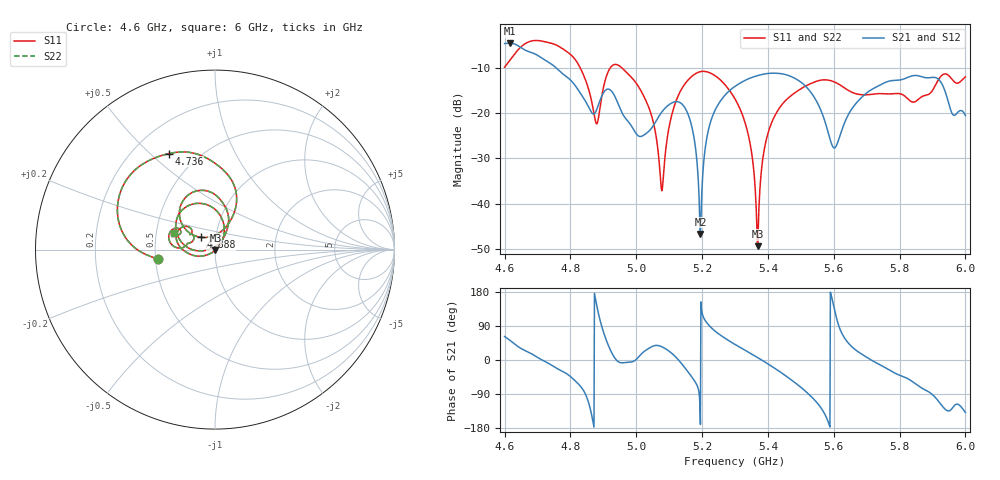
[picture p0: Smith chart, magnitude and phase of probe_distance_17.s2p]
! TOUCHSTONE file generated by CST MICROWAVE STUDIO
! Date and time: Sat Nov 30 13:11:00 2024
! Project name: test_tuning.cst
! Parameters = {airCoaxOuterDiameter=3; chamferAngle=45; chamferWidth=24; connectorLength=10; drillingHoleDiameter=4.1; feedLength=60; flareDiameter=130; flareLength=70; gratingDistance=0; gratingGap=1.90274; outletLength=30; polarizerLength=134; probe1Diameter=1.3; probe1Distance=16; probe1Length=1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
! Header version: 2024
! Port assignment regex: !\s*Touchstone port\s*([0-9]+)\s*=\s*(CST MWS port|CST DES external port|CST DES block port)\s*(.+)\s* \(\"(.*)\"\)(\s*mode\s*([0-9]+))?.*
! Touchstone port assignment:
! Touchstone port 1 = CST MWS port 1 ("Input1")
! Touchstone port 2 = CST MWS port 2 ("Input2")
# GHz S MA R 50
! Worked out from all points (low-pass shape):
!   1001 points, 4.6 GHz to 6 GHz, reference 50 ohm
!   highest |S21| = -4.62 dB at 4.615 GHz (marker M1); lowest = -46.6 dB at 5.195 GHz (marker M2)
!   |S21| within 3 dB of the highest: start of sweep to 4.707 GHz
!   lowest |S11| = -49.3 dB at 5.369 GHz (marker M3), VSWR 1.01, Z = 50.2 - j0.262 ohm
!   |S11| at or under -10 dB: 4.829 GHz to 4.922 GHz (92.23 MHz wide, 1.89 % of centre); 4.955 GHz to end of sweep
!   |S22| runs from -49.3 to -4.0 dB; largest |S21 - S12| = 1.8e-06
!   S11 on the Smith chart (normalised r, x): 4.6 GHz: 0.52, -0.06; 4.736 GHz: 0.35, +0.57; 4.888 GHz: 0.84, +0.12; 6 GHz: 0.62, +0.12
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4.6  0.32 -170.2  0.5816 61.9  0.5816 61.9  0.32 -170.2
4.6154  0.3778 -175.3  0.5875 52.5  0.5875 52.5  0.3778 -175.3
4.7358  0.5939 115.8  0.3573 -10.1  0.3573 -10.1  0.5939 115.8
4.8338  0.2931 65.8  0.1579 -72.9  0.1579 -72.9  0.2931 65.8
4.8884  0.1054 139.3  0.133 110.6  0.133 110.6  0.1054 139.3
4.9528  0.3219 94.6  0.1076 -7.2  0.1076 -7.2  0.3219 94.6
5.034  0.1253 58.5  0.06099 28.5  0.06099 28.5  0.1253 58.5
5.0676  0.03433 58.9  0.09044 38.0  0.09044 38.0  0.03433 58.9
5.0788  0.01426 132.4  0.1038 34.5  0.1038 34.5  0.01427 132.4
5.1082  0.09623 -175.9  0.1291 17.5  0.1291 17.5  0.09623 -175.9
5.1516  0.2179 160.8  0.1078 -24.9  0.1078 -24.9  0.2179 160.8
5.195  0.2854 131.6  0.004656 -170.2  0.004656 -170.2  0.2854 131.6
5.2258  0.2746 110.1  0.07989 87.0  0.07989 87.0  0.2746 110.1
5.3  0.1428 69.6  0.1964 41.0  0.1964 41.0  0.1428 69.6
5.3434  0.05111 48.1  0.2401 19.3  0.2401 19.3  0.05111 48.1
5.3686  0.003409 -49.9  0.258 6.5  0.258 6.5  0.003409 -49.9
5.412  0.07927 -153.5  0.2743 -16.9  0.2743 -16.9  0.07927 -153.5
5.5338  0.2136 169.2  0.1626 -98.4  0.1626 -98.4  0.2136 169.2
5.6024  0.2193 144.6  0.04122 132.9  0.04122 132.9  0.2193 144.6
5.7676  0.1621 148.8  0.2241 -25.9  0.2241 -25.9  0.1621 148.8
5.9118  0.2119 177.2  0.2435 -102.0  0.2435 -102.0  0.2119 177.2
6  0.2495 157.6  0.09388 -138.4  0.09388 -138.4  0.2495 157.6
